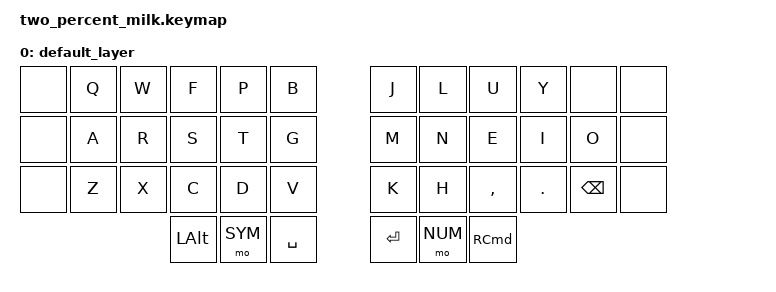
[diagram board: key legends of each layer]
/*
 * Copyright (c) 2022 The ZMK Contributors
 *
 * SPDX-License-Identifier: MIT
 */

#include <behaviors.dtsi>
#include <dt-bindings/zmk/keys.h>
#include <dt-bindings/zmk/bt.h>

/ {
    keymap {
        compatible = "zmk,keymap";

        default_layer {
            // ---------------------------------------------------------------------------
            // |     |  Q  |  W  |  F  |  P  |  B  | |  J  |  L  |  U  |  Y  |     |     |
            // |     |  A  |  R  |  S  |  T  |  G  | |  M  |  N  |  E  |  I  |  O  |     |
            // |     |  Z  |  X  |  C  |  D  |  V  | |  K  |  H  |  ,  |  .  |BKSPC|     |
            //                   | OPT |-SYM-| SPC | | RET |-NUM-| CMD |
            bindings = <
                &none &kp Q &kp W &kp F &kp P &kp B &kp J &kp L   &kp U     &kp Y   &none  &none
                &none &kp A &kp R &kp S &kp T &kp G &kp M &kp N   &kp E     &kp I   &kp O     &none
                &none &kp Z &kp X &kp C &kp D &kp V &kp K &kp H   &kp COMMA &kp DOT &kp BSPC &none
                &kp LALT &mo SYM &kp SPACE &kp RET &mo NUM &kp RCMD
                >;
        };
    };
};
